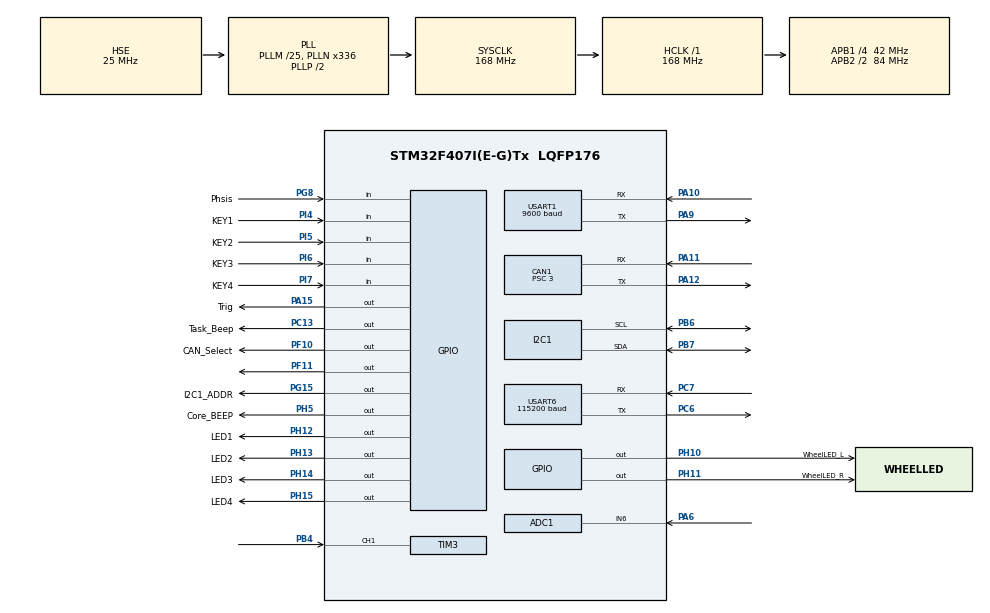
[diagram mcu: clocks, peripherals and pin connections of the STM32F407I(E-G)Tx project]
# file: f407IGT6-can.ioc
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ADC1.Channel-3\#ChannelRegularConversion=ADC_CHANNEL_6
ADC1.ClockPrescaler=ADC_CLOCK_SYNC_PCLK_DIV4
ADC1.ContinuousConvMode=DISABLE
ADC1.NbrOfConversion=1
ADC1.NbrOfConversionFlag=1
ADC1.Rank-3\#ChannelRegularConversion=1
ADC1.SamplingTime-3\#ChannelRegularConversion=ADC_SAMPLETIME_144CYCLES
ADC1.master=1
CAN1.ABOM=ENABLE
CAN1.BS1=CAN_BS1_10TQ
CAN1.BS2=CAN_BS2_3TQ
CAN1.CalculateBaudRate=1000000
CAN1.CalculateTimeBit=1000
CAN1.CalculateTimeQuantum=71.42857142857143
CAN1.Mode=CAN_MODE_NORMAL
CAN1.NART=ENABLE
CAN1.Prescaler=3
CAN1.SJW=CAN_SJW_2TQ
CAN1.TXFP=ENABLE
Dma.Request0=USART6_RX
Dma.USART6_RX.0.Direction=DMA_PERIPH_TO_MEMORY
Dma.USART6_RX.0.FIFOMode=DMA_FIFOMODE_DISABLE
Dma.USART6_RX.0.Instance=DMA2_Stream1
Dma.USART6_RX.0.MemDataAlignment=DMA_MDATAALIGN_BYTE
Dma.USART6_RX.0.MemInc=DMA_MINC_ENABLE
Dma.USART6_RX.0.Mode=DMA_NORMAL
Dma.USART6_RX.0.PeriphDataAlignment=DMA_PDATAALIGN_BYTE
Dma.USART6_RX.0.PeriphInc=DMA_PINC_DISABLE
Dma.USART6_RX.0.Priority=DMA_PRIORITY_LOW
I2C1.I2C_Mode=I2C_Fast
Mcu.Family=STM32F4
Mcu.Name=STM32F407I(E-G)Tx
Mcu.Package=LQFP176
NVIC.ADC_IRQn=true\:13\:0\:true\:false\:true\:true\:true\:true
NVIC.CAN1_RX0_IRQn=true\:1\:0\:true\:false\:true\:true\:true\:true
NVIC.CAN1_SCE_IRQn=true\:0\:0\:false\:false\:true\:true\:true\:true
NVIC.DMA2_Stream1_IRQn=true\:0\:0\:false\:false\:true\:false\:true\:true
NVIC.PriorityGroup=NVIC_PRIORITYGROUP_4
NVIC.TIM1_BRK_TIM9_IRQn=true\:4\:0\:true\:false\:true\:true\:true\:true
NVIC.TIM1_TRG_COM_TIM11_IRQn=true\:0\:0\:true\:false\:true\:true\:true\:true
NVIC.TIM1_UP_TIM10_IRQn=true\:14\:0\:true\:false\:true\:true\:true\:true
NVIC.TIM3_IRQn=true\:1\:0\:true\:false\:true\:true\:true\:true
NVIC.USART1_IRQn=true\:15\:0\:true\:false\:true\:true\:true\:true
NVIC.USART6_IRQn=true\:4\:0\:true\:false\:true\:true\:true\:true
PA10.Mode=Asynchronous
PA10.Signal=USART1_RX
PA11.Mode=CAN_Activate
PA11.Signal=CAN1_RX
PA12.Mode=CAN_Activate
PA12.Signal=CAN1_TX
PA13.Mode=Serial_Wire
PA13.Signal=SYS_JTMS-SWDIO
PA14.Mode=Serial_Wire
PA14.Signal=SYS_JTCK-SWCLK
PA15.GPIO_Label=Trig
PA15.GPIO_PuPd=GPIO_PULLUP
PA15.GPIO_Speed=GPIO_SPEED_FREQ_MEDIUM
PA15.PinState=GPIO_PIN_SET
PA15.Signal=GPIO_Output
PA6.Signal=ADCx_IN6
PA9.Mode=Asynchronous
PA9.Signal=USART1_TX
PB4.GPIO_ModeDefaultPP=GPIO_MODE_AF_PP
PB4.GPIO_PuPd=GPIO_NOPULL
PB4.GPIO_Speed=GPIO_SPEED_FREQ_LOW
PB4.Signal=S_TIM3_CH1
PB6.Mode=I2C
PB6.Signal=I2C1_SCL
PB7.Mode=I2C
PB7.Signal=I2C1_SDA
PC13-ANTI_TAMP.GPIO_Label=Task_Beep
PC13-ANTI_TAMP.GPIO_PuPd=GPIO_PULLUP
PC13-ANTI_TAMP.PinState=GPIO_PIN_SET
PC13-ANTI_TAMP.Signal=GPIO_Output
PC14-OSC32_IN.Mode=LSE-External-Oscillator
PC14-OSC32_IN.Signal=RCC_OSC32_IN
PC15-OSC32_OUT.Mode=LSE-External-Oscillator
PC15-OSC32_OUT.Signal=RCC_OSC32_OUT
PC6.Mode=Asynchronous
PC6.Signal=USART6_TX
PC7.Mode=Asynchronous
PC7.Signal=USART6_RX
PF10.GPIO_Label=CAN_Select
PF10.GPIO_PuPd=GPIO_PULLUP
PF10.GPIO_Speed=GPIO_SPEED_FREQ_MEDIUM
PF10.PinState=GPIO_PIN_RESET
PF10.Signal=GPIO_Output
PF11.GPIO_PuPd=GPIO_PULLUP
PF11.GPIO_Speed=GPIO_SPEED_FREQ_HIGH
PF11.PinState=GPIO_PIN_SET
PF11.Signal=GPIO_Output
PG15.GPIO_Label=I2C1_ADDR
PG15.GPIO_PuPd=GPIO_PULLUP
PG15.Signal=GPIO_Output
PG8.GPIO_Label=Phsis
PG8.GPIO_PuPd=GPIO_PULLUP
PG8.Signal=GPIO_Input
PH0-OSC_IN.Mode=HSE-External-Oscillator
PH0-OSC_IN.Signal=RCC_OSC_IN
PH1-OSC_OUT.Mode=HSE-External-Oscillator
PH1-OSC_OUT.Signal=RCC_OSC_OUT
PH10.GPIO_Label=WheelLED_L
PH10.GPIO_PuPd=GPIO_PULLUP
PH10.GPIO_Speed=GPIO_SPEED_FREQ_MEDIUM
PH10.PinState=GPIO_PIN_SET
PH10.Signal=GPIO_Output
PH11.GPIO_Label=WheelLED_R
PH11.GPIO_PuPd=GPIO_PULLUP
PH11.GPIO_Speed=GPIO_SPEED_FREQ_MEDIUM
PH11.PinState=GPIO_PIN_SET
PH11.Signal=GPIO_Output
PH12.GPIO_Label=LED1
PH12.GPIO_PuPd=GPIO_PULLUP
PH12.GPIO_Speed=GPIO_SPEED_FREQ_MEDIUM
PH12.Signal=GPIO_Output
PH13.GPIO_Label=LED2
PH13.GPIO_PuPd=GPIO_PULLUP
PH13.GPIO_Speed=GPIO_SPEED_FREQ_MEDIUM
PH13.Signal=GPIO_Output
PH14.GPIO_Label=LED3
PH14.GPIO_PuPd=GPIO_PULLUP
PH14.GPIO_Speed=GPIO_SPEED_FREQ_MEDIUM
PH14.Signal=GPIO_Output
PH15.GPIO_Label=LED4
PH15.GPIO_PuPd=GPIO_PULLUP
PH15.GPIO_Speed=GPIO_SPEED_FREQ_MEDIUM
PH15.Signal=GPIO_Output
PH5.GPIO_Label=Core_BEEP
PH5.GPIO_PuPd=GPIO_PULLUP
PH5.GPIO_Speed=GPIO_SPEED_FREQ_MEDIUM
PH5.Signal=GPIO_Output
PI4.GPIO_Label=KEY1
PI4.GPIO_PuPd=GPIO_PULLUP
PI4.Signal=GPIO_Input
PI5.GPIO_Label=KEY2
PI5.GPIO_PuPd=GPIO_PULLUP
PI5.Signal=GPIO_Input
PI6.GPIO_Label=KEY3
PI6.GPIO_PuPd=GPIO_PULLUP
PI6.Signal=GPIO_Input
PI7.GPIO_Label=KEY4
PI7.GPIO_PuPd=GPIO_PULLUP
PI7.Signal=GPIO_Input
ProjectManager.HeapSize=0x400
ProjectManager.StackSize=0x800
ProjectManager.TargetToolchain=STM32CubeIDE
RCC.48MHZClocksFreq_Value=84000000
RCC.AHBFreq_Value=168000000
RCC.APB1CLKDivider=RCC_HCLK_DIV4
RCC.APB1Freq_Value=42000000
RCC.APB1TimFreq_Value=84000000
RCC.APB2CLKDivider=RCC_HCLK_DIV2
RCC.APB2Freq_Value=84000000
RCC.APB2TimFreq_Value=168000000
RCC.CortexFreq_Value=168000000
RCC.HCLKFreq_Value=168000000
RCC.HSE_VALUE=25000000
RCC.HSI_VALUE=16000000
RCC.PLLM=25
RCC.PLLN=336
RCC.PLLSourceVirtual=RCC_PLLSOURCE_HSE
RCC.SYSCLKFreq_VALUE=168000000
RCC.SYSCLKSource=RCC_SYSCLKSOURCE_PLLCLK
RCC.VCOOutputFreq_Value=336000000
SH.ADCx_IN6.0=ADC1_IN6,IN6
SH.S_TIM3_CH1.0=TIM3_CH1,Input_Capture1_from_TI1
TIM10.Period=20000-1
TIM10.Prescaler=168-1
TIM11.Period=1000-1
TIM11.Prescaler=168-1
TIM3.Channel-Input_Capture1_from_TI1=TIM_CHANNEL_1
TIM3.Channel-Input_Capture2_from_TI1_63=TIM_CHANNEL_2
TIM3.ICPolarity_CH2=TIM_INPUTCHANNELPOLARITY_FALLING
TIM3.Prescaler=84-1
TIM9.Period=1000-1
TIM9.Prescaler=168-1
USART1.BaudRate=9600
USART1.VirtualMode=VM_ASYNC
USART6.BaudRate=115200
USART6.VirtualMode=VM_ASYNC
VP_TIM10_VS_ClockSourceINT.Mode=Enable_Timer
VP_TIM11_VS_ClockSourceINT.Mode=Enable_Timer
VP_TIM3_VS_ClockSourceINT.Mode=Internal
VP_TIM3_VS_indirect_ch1.Mode=Input_Capture2_from_TI1_63
VP_TIM9_VS_ClockSourceINT.Mode=Internal
board=custom

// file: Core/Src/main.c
/* USER CODE BEGIN Header */
/*******************************************************************************
  *致吾辈好儿郎们
  *不要问我改的程序有没有问题;
  *这种东西就像问你女朋友爱不爱你一样
  *毫无意义;
  *程序有没有问题要长时间跑过才知道;
  *爱情亦是如此;
  *晚上记得早点睡;
  *加油!
  *电子界吴彦祖;
  *******************************************************************************/
/* USER CODE END Header */
#include "main.h"
#include "adc.h"
#include "can.h"
#include "dma.h"
#include "i2c.h"
#include "tim.h"
#include "usart.h"
#include "gpio.h"

/* USER CODE BEGIN Includes */
#include "can_Tx.h"
#include "can_RxSolve.h"
#include "Motor.h"
#include "PID.h"
#include "Beep.h"
#include "Delay.h"
#include "KEY.h"
#include "LED.h"
#include "infrared.h"
#include "Ultrasonic.h"
#include "bh1750.h"
#include "WheelLED.h"
#include "Task_Beep.h"
#include "can_cmd.h"
#include "Voice.h"
#include "Photoresistance.h"
#include "RC522.h"
#include "Task.h"
#include "Command.h"
/* USER CODE END Includes */

/* USER CODE BEGIN PV */

/*标志位*/
uint8_t Start_Flag=0;/*小车任务开启标志位*/
uint8_t Ultrasonic_StartFlag=1;	/*超声波开启标志位 0-关闭 1-开启*/
//uint8_t BH1750_StartFlag=1;	/*BH1750开启标志位 0-关闭 1-开启*/

/* USER CODE END PV */

void SystemClock_Config(void);

/* USER CODE BEGIN 0 */

/**************************************************************************
函数功能：硬件初始化
入口参数：无
返回  值：无
**************************************************************************/
void Hardware_Init(void)
{
	/*获取键值对函数初始化*/
	Key_Init();

	/*启动CAN1*/
	MyCan_Init();
	Filter_Init();

	/*超声波初始化*/
	Ultrasonic_Init();

	/*红外管初始化*/
	Infrared_Init();

	/*Delay初始化*/
	My_Delay_Init();

	/*电机初始化*/
	Motor_Init();

	/*BH1750初始化*/
	BH1750_Init();	/*没电会初始化失败*/

	/*小创语音助手初始化*/
	Voice_Init();

	/*RF读卡器初始化*/
	InitRC522();

}

/* USER CODE END 0 */

int main(void)
{

  /* MCU Configuration--------------------------------------------------------*/

  /* Reset of all peripherals, Initializes the Flash interface and the Systick. */
  HAL_Init();

  /* Configure the system clock */
  SystemClock_Config();

  /* Initialize all configured peripherals */
  MX_GPIO_Init();
  MX_DMA_Init();
  MX_CAN1_Init();
  MX_ADC1_Init();
  MX_TIM9_Init();
  MX_TIM10_Init();
  MX_TIM3_Init();
  MX_I2C1_Init();
  MX_USART6_UART_Init();
  MX_USART1_UART_Init();
  MX_TIM11_Init();
  /* USER CODE BEGIN 2 */

  /*硬件初始化*/
  Hardware_Init();

  /*键值对变量*/
  uint8_t KeyNum=0;

  /*任务切片时间-ms*/
  uint32_t ADC_TaskTime=20,ADC_LastTime=0;/*ADC任务时间*/

//  uint32_t BH1750_TaskTime=180,BH1750_LastTime=0;/*BH1750任务时间*/

  uint32_t Ultrasonic_TaskTime=100,Ultrasonic_LastTime=0;/*超声波任务时间*/

  uint32_t RC522_TaskTime=500,RC522_LastTime=0;/*RFID读卡器初始化检测任务时间*/

  /*任务复位*/
  Task_Engine_Init();

  /*测试变量-记得删*/

  /* USER CODE END 2 */

  /* Infinite loop */
  /* USER CODE BEGIN WHILE */
  while (1)
  {

	  /*刷新*/
	  Slove_ALL();
	  Track_Check();
	  Go_and_Back_Check();
	  TurnAngle_Check();
	  TurnAngle_NewCheck();

	  /*按键*/
	  KeyNum = Key_GetNum();
	  if(KeyNum)
	  {
		  if(KeyNum == 1)
		  {
			  HAL_GPIO_TogglePin(GPIOH, GPIO_PIN_12);
			  Start_Flag = 1;

		  }
		  if(KeyNum == 2)
		  {
			  HAL_GPIO_TogglePin(GPIOH, GPIO_PIN_13);

			  Command_TFTAPageDown();

		  }
		  if(KeyNum == 3)
		  {
			  HAL_GPIO_TogglePin(GPIOH, GPIO_PIN_14);

			  Command_AndroidPlatNum();
		  }
		  if(KeyNum == 4)
		  {
			  HAL_GPIO_TogglePin(GPIOH, GPIO_PIN_15);

			  char txdata[550];
//			  sprintf(txdata,"red:%d blue:%d green:%d yellow:%d qingse:%d orange:%d purple:%d black:%d\r\n",
//					  CameraData.red,CameraData.blue,CameraData.green,CameraData.yellow,CameraData.qingse,CameraData.orange,CameraData.purple,CameraData.black);
//			  CAN_TxtoDisplay(txdata,strlen(txdata));
//			  sprintf(txdata,"GareInit:%d\r\nTem:%d\r\nVoiceNum:%d\n\rCarPort:%d\n\r",LightInit,BusData.temperature,LightInit,CarPortFlag);
//			  sprintf(txdata, "%s\r\n",SlaveCarData.chepai);
//			  sprintf(txdata, "Q1:%s\r\nQ2:%s\r\nQ3:%s\r\n%d", RQData.RQ1Buf, RQData.RQ2Buf,RQData.RQ3Buf,BusData.temperature);
//			  CAN_TxtoDisplay(txdata,strlen(txdata));
//
//			  sprintf(txdata,"ruijiao:%d dunjiao:%d zhijiao:%d lingxing:%d changfan:%d juxing:%d star:%d circle:%d\r\n",
//					  CameraData.ruijiao,CameraData.dunjiao,CameraData.zhijiao,CameraData.lingxing,CameraData.changfan,CameraData.juxing,CameraData.star,CameraData.circle);

			  sprintf(txdata, "Chepai:%s\nColor:%s\n",SlaveCarData.chepai,SlaveCarData.Color);
//			  sprintf(txdata, "%s\n",SlaveCarData.chepai);
			  CAN_TxtoDisplay(txdata,strlen(txdata));

		  }
	  }

	  /*开启任务*/
	  if(AndroidGoFlag == 1)
	  {
		  Start_Flag = 1;
		  AndroidGoFlag = 0;

	  }
	  if(Start_Flag == 1)
	  {
		  Task_Engine_Run();
	  }

	  /******************************模块任务切片******************************/
	  /*1.电量检测-50ms 触发十次后 上传电量数据*/
	  if((HAL_GetTick() - ADC_LastTime) > ADC_TaskTime)
	  {
		  Power_TxandStart();
		  ADC_LastTime = HAL_GetTick();
	  }

	  /*2.超声波-100ms,获取距离dis*/
	  if( ((HAL_GetTick() - Ultrasonic_LastTime) > Ultrasonic_TaskTime) && Ultrasonic_StartFlag == 1)
	  {
		  Ultrasonic_Start();
		  Ultrasonic_LastTime = HAL_GetTick();
	  }

//	  /*3.BH1750-180ms,获取光照值lux*/
//	  if( ((HAL_GetTick() - BH1750_LastTime) > BH1750_TaskTime) && BH1750_StartFlag == 1)
//	  {
//		  LuxTemp = BH1750_GetLux();
//		  if(LuxTemp)
//		  {
//			  Lux = LuxTemp;
//		  }
//		  BH1750_LastTime = HAL_GetTick();
//	  }

	  /*4.RFID_RC522初始化检测-500ms*/
	  if((HAL_GetTick() - RC522_LastTime) > RC522_TaskTime)
	  {
		  if (RC522_GetLinkFlag() == 0)
		  {
			  InitRC522();
			  Beep_Set(1);
		  }
		  else
		  {
			  Beep_Set(0);
			  RC522_LinkTest();
		  }

		  RC522_LastTime = HAL_GetTick();
	  }

    /* USER CODE END WHILE */

  }
}

void SystemClock_Config(void)
{
  RCC_OscInitTypeDef RCC_OscInitStruct = {0};
  RCC_ClkInitTypeDef RCC_ClkInitStruct = {0};

  /** Configure the main internal regulator output voltage
  */
  __HAL_RCC_PWR_CLK_ENABLE();
  __HAL_PWR_VOLTAGESCALING_CONFIG(PWR_REGULATOR_VOLTAGE_SCALE1);

  /** Initializes the RCC Oscillators according to the specified parameters
  * in the RCC_OscInitTypeDef structure.
  */
  RCC_OscInitStruct.OscillatorType = RCC_OSCILLATORTYPE_HSE;
  RCC_OscInitStruct.HSEState = RCC_HSE_ON;
  RCC_OscInitStruct.PLL.PLLState = RCC_PLL_ON;
  RCC_OscInitStruct.PLL.PLLSource = RCC_PLLSOURCE_HSE;
  RCC_OscInitStruct.PLL.PLLM = 25;
  RCC_OscInitStruct.PLL.PLLN = 336;
  RCC_OscInitStruct.PLL.PLLP = RCC_PLLP_DIV2;
  RCC_OscInitStruct.PLL.PLLQ = 4;
  if (HAL_RCC_OscConfig(&RCC_OscInitStruct) != HAL_OK)
  {
    Error_Handler();
  }

  /** Initializes the CPU, AHB and APB buses clocks
  */
  RCC_ClkInitStruct.ClockType = RCC_CLOCKTYPE_HCLK|RCC_CLOCKTYPE_SYSCLK
                              |RCC_CLOCKTYPE_PCLK1|RCC_CLOCKTYPE_PCLK2;
  RCC_ClkInitStruct.SYSCLKSource = RCC_SYSCLKSOURCE_PLLCLK;
  RCC_ClkInitStruct.AHBCLKDivider = RCC_SYSCLK_DIV1;
  RCC_ClkInitStruct.APB1CLKDivider = RCC_HCLK_DIV4;
  RCC_ClkInitStruct.APB2CLKDivider = RCC_HCLK_DIV2;

  if (HAL_RCC_ClockConfig(&RCC_ClkInitStruct, FLASH_LATENCY_5) != HAL_OK)
  {
    Error_Handler();
  }
}

void Error_Handler(void)
{
  __disable_irq();
  while (1)
  {
  }
}
